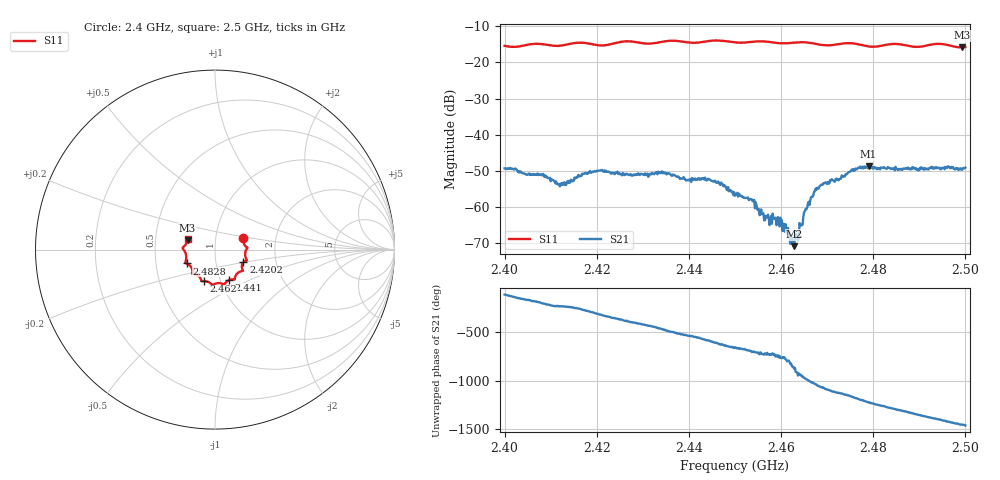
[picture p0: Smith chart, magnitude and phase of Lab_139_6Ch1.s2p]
# Hz S RI R 50
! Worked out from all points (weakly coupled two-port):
!   601 points, 2.4 GHz to 2.5 GHz, reference 50 ohm
!   highest |S21| = -48.81 dB at 2.479 GHz (marker M1); lowest = -70.9 dB at 2.4628 GHz (marker M2)
!   lowest |S11| = -15.8 dB at 2.4993 GHz (marker M3), VSWR 1.39, Z = 36.5 + j3.88 ohm
!   |S11| at or under -10 dB: start of sweep to end of sweep
!   S12 and S22 are empty: the file has one direction only
!   S11 on the Smith chart (normalised r, x): 2.4 GHz: 1.36, +0.18; 2.4202 GHz: 1.36, -0.20; 2.441 GHz: 1.10, -0.39; 2.462 GHz: 0.84, -0.30; 2.4828 GHz: 0.72, -0.11; 2.5 GHz: 0.73, +0.09
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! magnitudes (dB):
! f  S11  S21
! 2.4 GHz  -15.4  -49.4
! 2.4083 GHz  -15.0  -50.9
! 2.412 GHz  -15.4  -54.3
! 2.4167 GHz  -14.5  -51.4
! 2.4202 GHz  -15.2  -50.1
! 2.4333 GHz  -14.5  -50.3
! 2.441 GHz  -14.6  -52.6
! 2.446 GHz  -13.9  -53.4
! 2.45 GHz  -14.5  -56.9
! 2.4537 GHz  -14.3  -58.0
! 2.457 GHz  -14.3  -62.8
! 2.4597 GHz  -14.7  -65.4
! 2.462 GHz  -14.6  -70.3
! 2.4628 GHz  -14.5  -70.9
! 2.4633 GHz  -14.5  -67.6
! 2.4667 GHz  -14.6  -57.2
! 2.4692 GHz  -15.2  -53.5
! 2.479 GHz  -15.6  -48.8
! 2.4828 GHz  -15.1  -49.4
! 2.4833 GHz  -15.0  -49.2
! 2.4993 GHz  -15.8  -49.6
! 2.5 GHz  -15.7  -49.2
